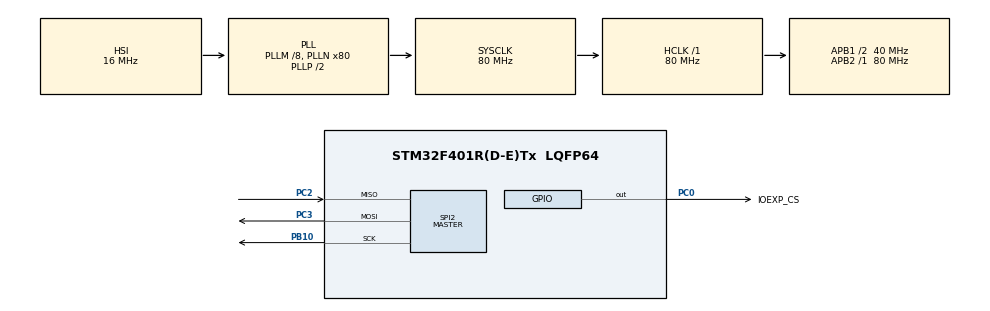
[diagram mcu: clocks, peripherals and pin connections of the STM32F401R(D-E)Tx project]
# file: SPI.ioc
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Mcu.Family=STM32F4
Mcu.Name=STM32F401R(D-E)Tx
Mcu.Package=LQFP64
NVIC.PriorityGroup=NVIC_PRIORITYGROUP_4
PA13.Mode=Serial_Wire
PA13.Signal=SYS_JTMS-SWDIO
PA14.Mode=Serial_Wire
PA14.Signal=SYS_JTCK-SWCLK
PB10.Mode=Full_Duplex_Master
PB10.Signal=SPI2_SCK
PC0.GPIO_Label=IOEXP_CS
PC0.PinState=GPIO_PIN_SET
PC0.Signal=GPIO_Output
PC2.Mode=Full_Duplex_Master
PC2.Signal=SPI2_MISO
PC3.Mode=Full_Duplex_Master
PC3.Signal=SPI2_MOSI
ProjectManager.HeapSize=0x200
ProjectManager.StackSize=0x400
ProjectManager.TargetToolchain=STM32CubeIDE
RCC.48MHZClocksFreq_Value=40000000
RCC.AHBFreq_Value=80000000
RCC.APB1CLKDivider=RCC_HCLK_DIV2
RCC.APB1Freq_Value=40000000
RCC.APB1TimFreq_Value=80000000
RCC.APB2Freq_Value=80000000
RCC.APB2TimFreq_Value=80000000
RCC.CortexFreq_Value=80000000
RCC.HCLKFreq_Value=80000000
RCC.HSE_VALUE=25000000
RCC.HSI_VALUE=16000000
RCC.LSE_VALUE=32768
RCC.PLLM=8
RCC.PLLN=80
RCC.SYSCLKFreq_VALUE=80000000
RCC.SYSCLKSource=RCC_SYSCLKSOURCE_PLLCLK
RCC.VCOOutputFreq_Value=160000000
SPI2.BaudRatePrescaler=SPI_BAUDRATEPRESCALER_8
SPI2.Direction=SPI_DIRECTION_2LINES
SPI2.Mode=SPI_MODE_MASTER
SPI2.VirtualType=VM_MASTER
board=custom

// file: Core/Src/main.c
/* USER CODE BEGIN Header */
/**
  ******************************************************************************
  * @file           : main.c
  * @brief          : Main program body
  ******************************************************************************
  * @attention
  *
  * Copyright (c) 2023 STMicroelectronics.
  * All rights reserved.
  *
  * This software is licensed under terms that can be found in the LICENSE file
  * in the root directory of this software component.
  * If no LICENSE file comes with this software, it is provided AS-IS.
  *
  ******************************************************************************
  */
/* USER CODE END Header */
#include "main.h"
#include "spi.h"
#include "gpio.h"

/* USER CODE BEGIN Includes */
#include "mcp23s08.h"
/* USER CODE END Includes */

/* USER CODE BEGIN PD */
#define MCP_IODIR		0x00
#define MCP_IPOL		0x01
#define MCP_GPINTEN		0x02
#define MCP_DEFVAL		0x03
#define MCP_INTCON		0x04
#define MCP_IOCON		0x05
#define MCP_GPPU		0x06
#define MCP_INTF		0x07
#define MCP_INTCAP		0x08
#define MCP_GPIO		0x09
#define MCP_OLAT		0x0A
/* USER CODE END PD */

void SystemClock_Config(void);

int main(void)
{

  /* MCU Configuration--------------------------------------------------------*/

  /* Reset of all peripherals, Initializes the Flash interface and the Systick. */
  HAL_Init();

  /* Configure the system clock */
  SystemClock_Config();

  /* Initialize all configured peripherals */
  MX_GPIO_Init();
  MX_SPI2_Init();

  /* Infinite loop */
  /* USER CODE BEGIN WHILE */
  // ustaw GP0 jako wyjście
  // ustaw GP0 jako wyjście
  mcp_reg_write(MCP_IODIR, 0xFE);
  // włącz rezystor podciągający dla GP1
  mcp_reg_write(MCP_GPPU, 0x02);

	  while (1)
	  {
		  if ((mcp_reg_read(MCP_GPIO) & 0x02) == 0) {
		    // włącz diodę
		    mcp_reg_write(MCP_OLAT, 0x01);
		  } else {
		    // wyłącz diodę
		    mcp_reg_write(MCP_OLAT, 0x00);
		  }
	    // włącz diodę
	    mcp_reg_write(MCP_OLAT, 0x01);
	    HAL_Delay(500);

	    // wyłącz diodę
	    mcp_reg_write(MCP_OLAT, 0x00);
	    HAL_Delay(500);
    /* USER CODE END WHILE */

  }
}

void SystemClock_Config(void)
{
  RCC_OscInitTypeDef RCC_OscInitStruct = {0};
  RCC_ClkInitTypeDef RCC_ClkInitStruct = {0};

  /** Configure the main internal regulator output voltage
  */
  __HAL_RCC_PWR_CLK_ENABLE();
  __HAL_PWR_VOLTAGESCALING_CONFIG(PWR_REGULATOR_VOLTAGE_SCALE2);
  /** Initializes the RCC Oscillators according to the specified parameters
  * in the RCC_OscInitTypeDef structure.
  */
  RCC_OscInitStruct.OscillatorType = RCC_OSCILLATORTYPE_HSI;
  RCC_OscInitStruct.HSIState = RCC_HSI_ON;
  RCC_OscInitStruct.HSICalibrationValue = RCC_HSICALIBRATION_DEFAULT;
  RCC_OscInitStruct.PLL.PLLState = RCC_PLL_ON;
  RCC_OscInitStruct.PLL.PLLSource = RCC_PLLSOURCE_HSI;
  RCC_OscInitStruct.PLL.PLLM = 8;
  RCC_OscInitStruct.PLL.PLLN = 80;
  RCC_OscInitStruct.PLL.PLLP = RCC_PLLP_DIV2;
  RCC_OscInitStruct.PLL.PLLQ = 4;
  if (HAL_RCC_OscConfig(&RCC_OscInitStruct) != HAL_OK)
  {
    Error_Handler();
  }
  /** Initializes the CPU, AHB and APB buses clocks
  */
  RCC_ClkInitStruct.ClockType = RCC_CLOCKTYPE_HCLK|RCC_CLOCKTYPE_SYSCLK
                              |RCC_CLOCKTYPE_PCLK1|RCC_CLOCKTYPE_PCLK2;
  RCC_ClkInitStruct.SYSCLKSource = RCC_SYSCLKSOURCE_PLLCLK;
  RCC_ClkInitStruct.AHBCLKDivider = RCC_SYSCLK_DIV1;
  RCC_ClkInitStruct.APB1CLKDivider = RCC_HCLK_DIV2;
  RCC_ClkInitStruct.APB2CLKDivider = RCC_HCLK_DIV1;

  if (HAL_RCC_ClockConfig(&RCC_ClkInitStruct, FLASH_LATENCY_2) != HAL_OK)
  {
    Error_Handler();
  }
}

void Error_Handler(void)
{
  __disable_irq();
  while (1)
  {
  }
}
